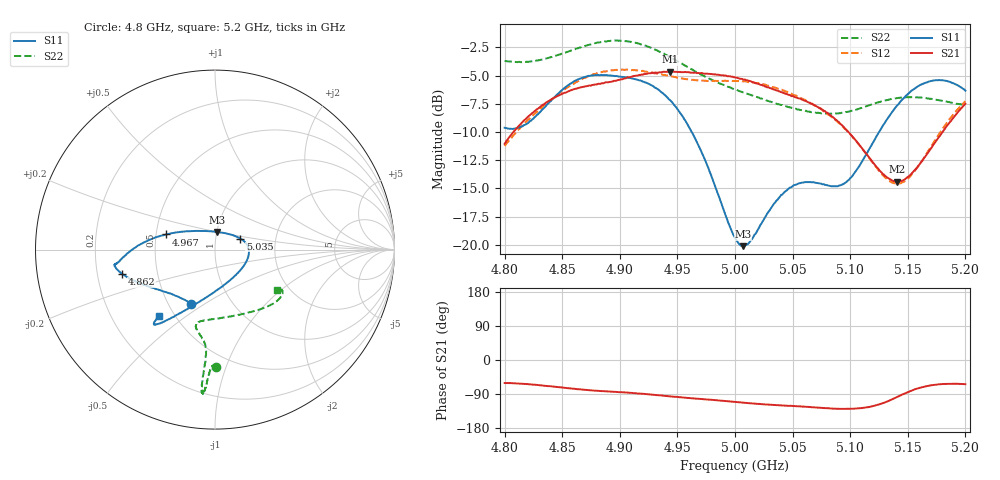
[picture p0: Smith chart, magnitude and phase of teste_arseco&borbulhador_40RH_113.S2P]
! Network Analyzer HP8722D
! Hewlett-Packard
! Data name: Linha & Wilkinson
! Saver's name: Rodrigo Anjos
! Comments: Teste da utilização de aquisição
! continua pelo VNA HP8722D
! Time and date: 15/4/2025 17:17
!  Frequency  S11  S21  S12  S22
# HZ  S  MA R 50
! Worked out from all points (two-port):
!   401 points, 4.8 GHz to 5.2 GHz, reference 50 ohm
!   highest |S21| = -4.64 dB at 4.944 GHz (marker M1); lowest = -14.4 dB at 5.141 GHz (marker M2)
!   |S21| within 3 dB of the highest: 4.832 GHz to 5.069 GHz (236.7 MHz wide, 4.78 % of centre); 5.198573 GHz to end of sweep
!   lowest |S11| = -20.1 dB at 5.007 GHz (marker M3), VSWR 1.22, Z = 50.1 + j9.92 ohm
!   |S11| at or under -10 dB: 4.962 GHz to 5.125 GHz (162.5 MHz wide, 3.22 % of centre)
!   |S22| runs from -8.4 to -1.9 dB; largest |S21 - S12| = 0.88
!   S11 on the Smith chart (normalised r, x): 4.8 GHz: 0.65, -0.44; 4.862 GHz: 0.31, -0.12; 4.967 GHz: 0.57, +0.10; 5.035 GHz: 1.32, +0.17; 5.2 GHz: 0.41, -0.40
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4.8e9  0.3304 -113.5  0.2804 -60.8  0.2746 -175.0  0.6537 -89.4
4.819e9  0.3438 -133.4  0.3645 -63.6  0.3519 -173.2  0.6479 -91.1
4.862e9  0.5359 -165.4  0.4928 -76.4  0.5256 -176.2  0.7407 -93.4
4.867e9  0.5496 -167.4  0.5002 -78.0  0.542 -177.2  0.7549 -93.6
4.898e9  0.5595 -171.8  0.5363 -84.5  0.5966 176.3  0.8051 -94.8
4.934e9  0.4857 -177.8  0.581 -93.2  0.5739 172.1  0.7195 -95.5
4.944e9  0.4363 177.6  0.5861 -96.0  0.5588 172.1  0.6791 -95.3
4.967e9  0.2848 162.8  0.5772 -101.9  0.5362 174.1  0.581 -94.9
5e9  0.1079 107.7  0.5529 -110.8  0.5334 176.7  0.4878 -99.2
5.007e9  0.09871 84.0  0.5402 -112.6  0.5302 176.5  0.474 -100.9
5.014e9  0.105 61.7  0.5304 -114.5  0.5265 176.3  0.461 -102.5
5.035e9  0.1544 23.4  0.4863 -118.9  0.4977 175.1  0.424 -103.9
5.05e9  0.1819 7.4  0.4572 -121.6  0.4648 174.6  0.4048 -100.5
5.067e9  0.1894 -10.9  0.4215 -124.6  0.4226 174.1  0.3879 -91.9
5.087e9  0.182 -43.5  0.36 -128.5  0.3588 174.0  0.3824 -76.9
5.097e9  0.1906 -64.5  0.3216 -129.1  0.3214 174.5  0.3881 -68.5
5.134e9  0.3729 -115.8  0.196 -107.1  0.1923 -159.9  0.4413 -43.4
5.141e9  0.416 -119.8  0.1904 -97.3  0.1869 -148.8  0.4477 -40.2
5.153e9  0.4812 -124.7  0.2064 -81.1  0.2041 -130.1  0.4516 -35.9
5.17e9  0.5326 -128.4  0.267 -66.8  0.2719 -113.0  0.4442 -32.1
5.184e9  0.5326 -129.7  0.3378 -63.0  0.3484 -107.1  0.4315 -31.0
5.2e9  0.4826 -130.2  0.4221 -63.8  0.4337 -105.9  0.4148 -33.3
